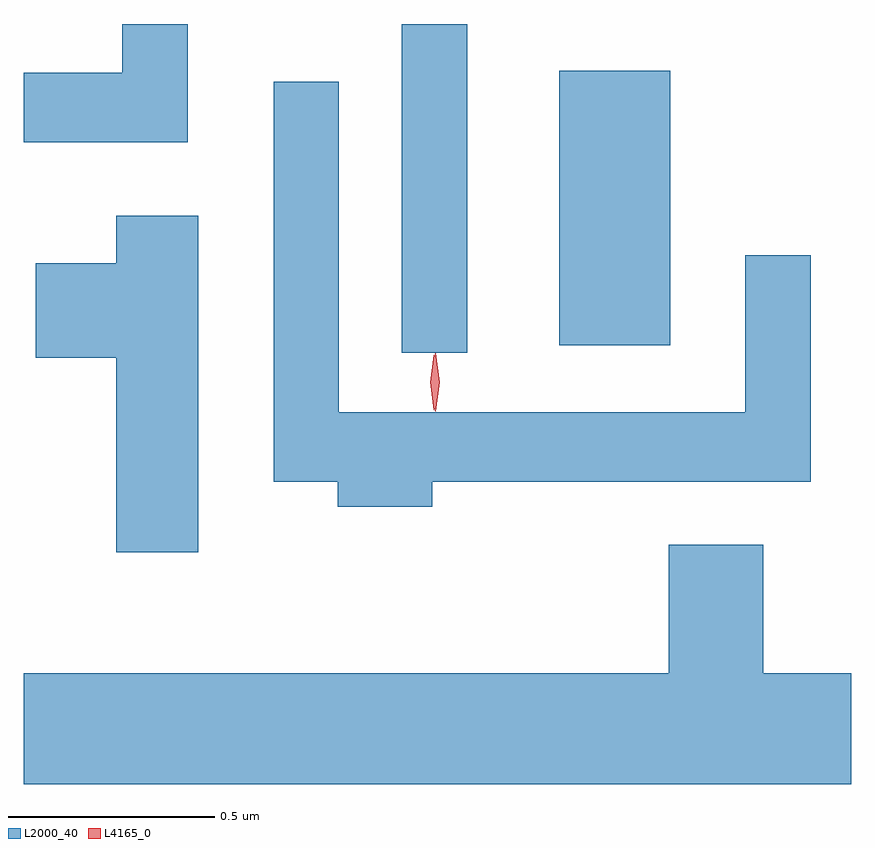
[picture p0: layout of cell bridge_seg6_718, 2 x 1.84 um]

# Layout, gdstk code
import gdstk
lib = gdstk.Library(unit=1e-6, precision=1e-09)
def R(c, l, rs):  # rectangles x0, y0, x1, y1
    for r in rs: c.add(gdstk.rectangle(r[:2], r[2:], *l))
def P(c, l, *ps):  # polygons
    for p in ps: c.add(gdstk.Polygon(p, *l))
L2000_40 = (2000, 40)
L4165_0 = (4165, 0)

bridge_seg6_718 = lib.new_cell('bridge_seg6_718')
R(bridge_seg6_718, L2000_40, [(402.836,1553.298,402.994,1554.092), (403.216,1553.316,403.484,1553.979)])
P(bridge_seg6_718, L2000_40, [(402.319,1554.092),(402.161,1554.092),(402.161,1553.974),(401.922,1553.974),(401.922,1553.806),(402.319,1553.806)],
  [(402.909,1552.986),(403.824,1552.986),(403.824,1553.533),(403.666,1553.533),(403.666,1553.154),(402.684,1553.154),(402.684,1553.953),(402.526,1553.953),(402.526,1552.986),(402.681,1552.986),(402.681,1552.926),(402.909,1552.926)],
  [(402.344,1553.629),(402.146,1553.629),(402.146,1553.514),(401.951,1553.514),(401.951,1553.286),(402.146,1553.286),(402.146,1552.816),(402.344,1552.816)],
  [(403.922,1552.524),(403.709,1552.524),(403.709,1552.834),(403.481,1552.834),(403.481,1552.524),(401.922,1552.524),(401.922,1552.256),(403.922,1552.256)])
P(bridge_seg6_718, L4165_0, [(402.914,1553.159),(402.913,1553.16),(402.904,1553.226),(402.913,1553.292),(402.914,1553.293),(402.914,1553.292),(402.924,1553.226),(402.914,1553.16)],
  [(402.917,1553.157),(402.908,1553.226),(402.917,1553.296),(402.918,1553.296),(402.918,1553.296),(402.928,1553.226),(402.918,1553.157),(402.918,1553.157)])

lib.write_gds('bridge_seg6_718.gds')
